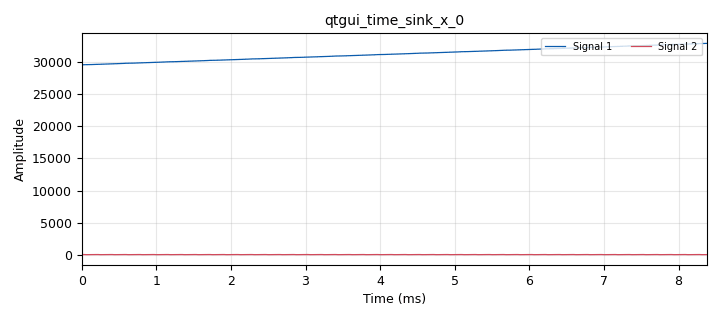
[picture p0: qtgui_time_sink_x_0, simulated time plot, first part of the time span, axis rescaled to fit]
options:
  parameters:
    generate_options: qt_gui
    id: integrador
    output_language: python
    title: Not titled yet
  states: {}

blocks:
- name: samp_rate
  id: variable
  parameters:
    value: '32000'
  states: {}
- name: blocks_throttle_0
  id: blocks_throttle
  parameters:
    samples_per_second: samp_rate
    type: float
  states: {}
- name: blocks_vector_source_x_0
  id: blocks_vector_source_x
  parameters:
    repeat: 'True'
    type: float
    vector: (3,7,11,14,18,22)
  states: {}
- name: epy_block_0
  id: epy_block
  parameters:
    _source_code: |-
      """
      Embedded Python Blocks:

      Each time this file is saved, GRC will instantiate the first class it finds
      to get ports and parameters of your block. The arguments to __init__  will
      be the parameters. All of them are required to have default values!
      """
      import numpy as np
      from gnuradio import gr

      class blk(gr.sync_block):

          def __init__(self):  # Solo argumentos predeterminados aquí
              gr.sync_block.__init__(
                  self,
                  name='Diferenciador',  # Aparecerá en GRC
                  in_sig=[np.float32],
                  out_sig=[np.float32],
              )
              self.acum_anterior = 0

          def work(self, input_items, output_items):
              x = input_items[0]  # Señal de entrada.
              y0 = output_items[0]  # Señal acumulada diferencial
              N = len(x)
              diff = np.cumsum(x) - self.acum_anterior
              self.acum_anterior = diff[N - 1]
              y0[:] = diff
              return len(y0)
  states: {}
- name: qtgui_time_sink_x_0
  id: qtgui_time_sink_x
  parameters:
    nconnections: '2'
    size: '1024'
    srate: samp_rate
    type: float
  states: {}

connections:
- [blocks_throttle_0, '0', epy_block_0, '0']
- [blocks_throttle_0, '0', qtgui_time_sink_x_0, '1']
- [blocks_vector_source_x_0, '0', blocks_throttle_0, '0']
- [epy_block_0, '0', qtgui_time_sink_x_0, '0']

metadata:
  file_format: 1
  grc_version: 3.10.5.1
